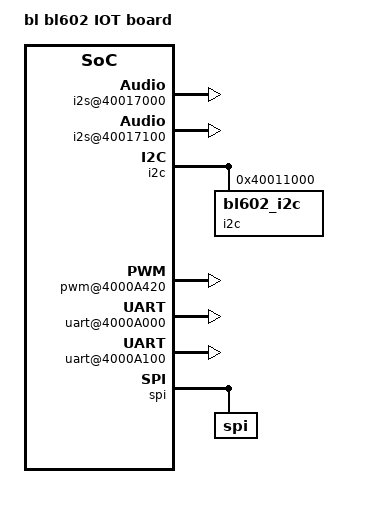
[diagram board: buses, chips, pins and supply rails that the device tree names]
/dts-v1/;
/include/ "bl602_base.dtsi";
// version: 17
// last_comp_version: 16
// boot_cpuid_phys: 0x0

/ {
    model = "bl bl602 IOT board";
    compatible = "bl,bl602-sample", "bl,bl602-common";
    #address-cells = <0x1>;
    #size-cells = <0x1>;
    gpio {
        #address-cells = <1>;
        #size-cells = <1>;
        max_num = <40>;
        gpio0 {                                  
            status = "okay";                     
            pin  = <5>;                          
            feature = "led";                     
            active = "Hi"; //Hi or Lo
            mode = "blink"; //blink or hearbeat
            time = <100>; //duration for this mode
        };
        gpio1 {                                  
            status = "disable";                     
            pin  = <6>;                          
            feature = "led";                     
            active = "Hi"; //Hi or Lo
            mode = "blink"; //blink or hearbeat
            time = <100>; //duration for this mode
        };
        gpio2 {
            status = "okay";
            pin = <2>;
            feature = "button";
            active = "Hi";
            mode = "multipress";
            button {
                debounce = <10>;
                short_press_ms {
                    start = <100>;
                    end = <3000>;
                    kevent = <2>;
                };
                long_press_ms {
                    start = <6000>;
                    end = <10000>;
                    kevent = <3>;
                };
                longlong_press_ms {
                    start = <15000>;
                    kevent = <4>;
                };
                trig_level = "Hi";
            };
            hbn_use = "disable";
        };
    };
    i2s {
        #address-cells = <1>;
        #size-cells = <1>;
        i2s@40017000 {
            status = "okay";
            compatible = "bl602_i2s";
            reg = <0x40017000 0x100>;
            mclk_only = "okay";
            pin {
                mclk = <11>;
            };
        };
        i2s@40017100 {
            status = "okay";
            compatible = "bl602_i2s";
            reg = <0x40017100 0x100>;
            mclk_only = "disable";
            pin {
                bclk = <12>;
                fs = <29>;
                do = <30>;
                di = <31>;
            };
        };
    };
    i2c {
        #address-cells = <1>;
        #size-cells = <1>;
        i2c@40011000 {
            status = "okay";
            compatible = "bl602_i2c";
            reg = <0x40011000 0x100>;
            pin {
                scl = <32>;
                sda = <13>;
            };
            devices {
                list_addr = <0x18 0x21>;
                list_driver = "i2c_es8311", "i2c_gc0308>";
            };
        };
        i2c@40011100 {
            status = "disable";
            compatible = "bl602_i2c";
            reg = <0x40011100 0x100>;
            pin {
                /*empty here*/
            };
        };
    };
    timer {
        #address-cells = <1>;
        #size-cells = <1>;
        timer@40014000 {
            status = "disable";
            compatible = "bl602_timer";
            reg = <0x40014000 0x100>;
        };
        timer@40014100 {
            status = "disable";
            compatible = "bl602_timer";
            reg = <0x40014100 0x100>;
        };
    };
    pwm {
        #address-cells = <1>;
        #size-cells = <1>;
        pwm@4000A420 {
            status = "okay";
            compatible = "bl602_pwm";
            reg = <0x4000A420 0x20>;
            path = "/dev/pwm0";
            id = <0>;
            pin = <0>;
            freq = <800000>;
            duty = <50>;
        };
        pwm@4000A440 {
            status = "disable";
            reg = <0x4000A440 0x20>;
            path = "/dev/pwm1";
            id = <1>;
            pin = <1>;
            freq = <5000>;
            duty = <50>;
        };
        pwm@4000A460 {
            status = "disable";
            reg = <0x4000A460 0x20>;
            path = "/dev/pwm2";
            id = <2>;
            pin = <2>;
            freq = <5000>;
            duty = <50>;
        };
        pwm@4000A480 {
            status = "disable";
            reg = <0x4000A480 0x20>;
            path = "/dev/pwm3";
            id = <3>;
            pin = <3>;
            freq = <5000>;
            duty = <50>;
        };
        pwm@4000A4A0 {
            status = "disable";
            reg = <0x4000A4A0 0x20>;
            path = "/dev/pwm4";
            id = <4>;
            pin = <4>;
            freq = <5000>;
            duty = <50>;
        };
    };
    ir {
        #address-cells = <1>;
        #size-cells = <1>;
        ctrltype = <0>;
        tx {
            status = "disable";
            pin = <11>;         // only support 11
            mode = "NEC";       // NEC,ExtenedNEC,RC5,SWM
            interval = <100>;   // ms
            active_mode = "Hi"; //Hi,Lo
        };
        rx {
            status = "okay";
            pin = <12>;         // only support 12 13
            mode = "NEC";       // NEC,ExtenedNEC,RC5,SWM
            active_mode = "Hi"; //Hi,Lo
            data_check = <2>;   //bit 0:check cmd, bit 1:check addr
        };
    };
    uart {
        #address-cells = <1>;
        #size-cells = <1>;
        uart@4000A000 {
            status = "okay";
            id = <0>;
            compatible = "bl602_uart";
            path = "/dev/ttyS0";
            baudrate = <2000000>;
            pin {
                rx = <7>;
                tx = <16>;
            };
            buf_size {
                rx_size = <512>;
                tx_size = <512>;
            };
            feature {
                tx = "okay";
                rx = "okay";
                cts = "disable";
                rts = "disable";
            };
        };
        uart@4000A100 {
            status = "okay";
            id = <1>;
            compatible = "bl602_uart";
            path = "/dev/ttyS1";
            baudrate = <115200>;
            pin {
                rx = <3>;
                tx = <4>;
            };
            buf_size {
                rx_size = <512>;
                tx_size = <512>;
            };
            feature {
                tx = "okay";
                rx = "okay";
                cts = "disable";
                rts = "disable";
            };
        };
    };
    spi {
        #address-cells = <1>;
        #size-cells = <1>;
        spi@4000F000 {
            status = "okay";         /* okay disable */
            mode = "master";
            reg = <0x4000F000 0x100>;   /* 4KB */
            path = "/dev/spi0";
            port = <0>;
            polar_phase = <1>;                 /* 0,1,2,3 */
            freq = <6000000>;
            pin {
                clk = <3>;
                cs = <2>;
                mosi = <1>;
                miso = <0>;
            };
            dma_cfg {
                tx_dma_ch = <2>;
                rx_dma_ch = <3>;
            };
        };
    };
    gpip {
        #address-cells = <1>;
        #size-cells = <1>;
        adc_key {
            status = "disable";
            pin = <9>;
            interrupt  = <3>;
            key_vol = <0 100 400 300 500>;
            key_pcb = "SW1", "SW2", "SW3", "SW4","SW5";
            key_event = "Usr1", "Usr2", "Start", "Up", "Down";
            key_raw = <1 2 3 4 5>;
        };
    };
    qspi {
        #address-cells = <1>;
        #size-cells = <1>;
        qspi@4000A000 {
            status = "disable";
            reg = <0x4000A000 0x1000>;/* 4KB */
        };
    };
    wifi {
        #address-cells = <1>;
        #size-cells = <1>;
        region {
            country_code = <86>;
        };
        mac {
            mode = "MBF";
            sta_mac_addr = [C8 43 57 82 73 40];
            ap_mac_addr = [C8 43 57 82 73 02];
        };
        sta {
            ssid = "yourssid";
            pwd = "yourapssword";
            auto_connect_enable = <0>;
        };
        ap {
            ssid = "bl_test_005";
            pwd = "12345678";
            ap_channel = <11>;
            auto_chan_detect = "disable";
        };
        brd_rf {
            xtal_mode = "MF";
            xtal = <36 36 0 60 60>;
            pwr_mode = "bf";//B: only use power offset in EFUSE; b: use power offset in EFUSE with incremental mode; F: only use power offset in Flash; f: use power offset in Flash with incremental mode
            pwr_table_11b        = <20 20 20 20>;//1Mbps 2Mbps 5.5Mbps 11Mbps
            pwr_table_11g        = <18 18 18 18 18 18 16 16>; //6Mbps 9Mbps 12Mbps 18MBps 24Mbps 36Mbps 48Mbps 54Mbps
            pwr_table_11n_ht20  = <18 18 18 18 18 16 15 15>; //MCS0~MCS7
            pwr_table_11n_ht40  = <18 18 18 18 18 16 15 14>; //MCS0~MCS7
            pwr_table_11ac_vht20 = <18 18 18 18 18 16 15 15 15 14>; //MSC0~MSC9
            pwr_table_11ac_vht40 = <18 18 18 18 18 16 15 14 14 13>; //MSC0~MSC9
            pwr_table_11ac_vht80 = <18 18 18 18 18 15 14 13 13 12>; //MSC0~MSC9
            pwr_table_11ax_he20  = <18 18 18 18 18 16 15 15 15 14 13 13>; //MSC0~MSC11
            pwr_table_11ax_he40  = <18 18 18 18 18 16 15 14 14 13 12 12>; //MSC0~MSC11
            pwr_table_11ax_he80  = <18 18 18 18 18 15 14 13 13 12 11 11>; //MSC0~MSC11
            pwr_table_11ax_he160 = <18 18 18 18 18 15 14 13 12 11 10 10>; //MSC0~MSC11
            
            pwr_offset = <16 16 16 16 16 16 16 16 16 16 16 16 16 16>;//due to the limit of current DTC, negative value is used. So we work around by adding all the poweroffset with 16.
            pwr_offset_lp = <16 16 16 16 16 16 16 16 16 16 16 16 16 16>;   
            //so 14 represents -0.5dBm; 16 represents 0dBm; 20 represents 1dBm;(step is 0.25dBm)
        };
        rf_temp {
            en_tcal = <0>;
            linear_or_follow = <1>;
            Tchannels       = <2412 2427 2442 2457 2472>;
            Tchannel_os     = <180  168  163  160  157>;
            Tchannel_os_low = <199  186  170  165  160>;
            Troom_os        = <255>;
            //negative value is NOT supported. So we use '256' for 0, '255' for -1, '257' for 1,'511' for 256
        };
    };
    bluetooth_zigbee {
        #address-cells = <1>;
        #size-cells = <1>;
        brd_rf {
            pwr_table_ble = <13>; //range:0~15dbm
            pwr_table_bt = <10 8 8>; //BR 1M,EDR 2M,EDR 3M
            pwr_table_zigbee = <13>; //range:0~15dbm
            pwr_offset = <16 16 16 16 16>; //step is 0.25dBm
            
        };
    };
    info {
        #address-cells = <1>;
        #size-cells = <1>;
        brd {
            country_code = <86>; 
        };
    };
};
